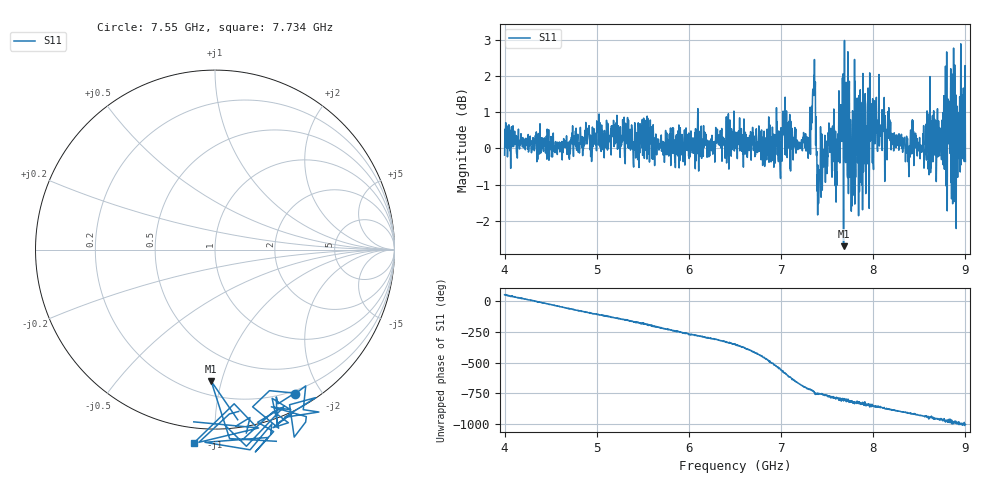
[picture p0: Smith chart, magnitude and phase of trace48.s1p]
! Created with skrf 1.8.0 (http://scikit-rf.org).
# Hz S RI R 50.0
!freq ReS11 ImS11
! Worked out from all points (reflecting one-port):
!   1601 points, 4 GHz to 9 GHz, reference 50 ohm
!   lowest |S11| = -2.7 dB at 7.678 GHz (marker M1), VSWR 6.47, Z = 14.7 - j46.3 ohm
!   phase of S11 starts at 50 deg and turns -1052 deg over the sweep
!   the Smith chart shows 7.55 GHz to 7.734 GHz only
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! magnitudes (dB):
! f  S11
! 4 GHz  -0.2
! 4.625 GHz  -0.3
! 5.009 GHz  0.5
! 5.25 GHz  -0.1
! 5.875 GHz  0.2
! 6.5 GHz  0.3
! 6.984 GHz  0.2
! 7.038 GHz  0.4
! 7.125 GHz  0.1
! 7.294 GHz  -0.3
! 7.347 GHz  1.5
! 7.366 GHz  1.5
! 7.412 GHz  -1.1
! 7.519 GHz  0.7
! 7.606 GHz  -1.0
! 7.647 GHz  1.2
! 7.678 GHz  -2.7
! 7.75 GHz  -0.4
! 7.769 GHz  -1.1
! 7.822 GHz  -0.2
! 7.909 GHz  1.3
! 8.038 GHz  0.4
! 8.375 GHz  0.0
! 8.753 GHz  0.4
! 8.816 GHz  0.1
! 8.869 GHz  -0.9
! 8.972 GHz  -0.1
! 9 GHz  -0.4
